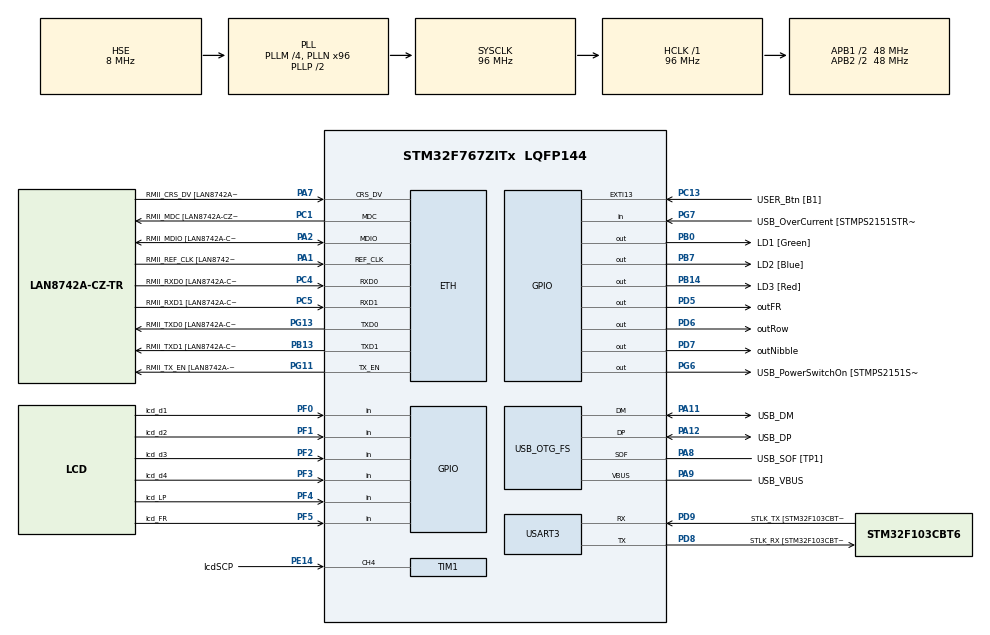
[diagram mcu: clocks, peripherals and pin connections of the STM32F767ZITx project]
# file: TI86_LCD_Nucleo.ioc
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Dma.Request0=TIM1_CH4/TRIG/COM
Dma.TIM1_CH4/TRIG/COM.0.Direction=DMA_PERIPH_TO_MEMORY
Dma.TIM1_CH4/TRIG/COM.0.FIFOMode=DMA_FIFOMODE_DISABLE
Dma.TIM1_CH4/TRIG/COM.0.Instance=DMA2_Stream4
Dma.TIM1_CH4/TRIG/COM.0.MemDataAlignment=DMA_MDATAALIGN_BYTE
Dma.TIM1_CH4/TRIG/COM.0.MemInc=DMA_MINC_ENABLE
Dma.TIM1_CH4/TRIG/COM.0.Mode=DMA_CIRCULAR
Dma.TIM1_CH4/TRIG/COM.0.PeriphDataAlignment=DMA_PDATAALIGN_BYTE
Dma.TIM1_CH4/TRIG/COM.0.PeriphInc=DMA_PINC_DISABLE
Dma.TIM1_CH4/TRIG/COM.0.Priority=DMA_PRIORITY_LOW
ETH.MediaInterface=ETH_MEDIA_INTERFACE_RMII
ETH.PHY_Name=LAN8742A_PHY_ADDRESS
ETH.PHY_Value=0
ETH.PhyAddress=0
Mcu.Family=STM32F7
Mcu.Name=STM32F767ZITx
Mcu.Package=LQFP144
NVIC.DMA2_Stream4_IRQn=true\:0\:0\:false\:false\:true\:false\:true
NVIC.EXTI15_10_IRQn=true\:0\:0\:false\:false\:true\:true\:true
NVIC.PriorityGroup=NVIC_PRIORITYGROUP_4
PA1.GPIO_Label=RMII_REF_CLK [LAN8742A-CZ-TR_REFCLK0]
PA1.Mode=RMII
PA1.Signal=ETH_REF_CLK
PA10.GPIO_Label=USB_ID
PA10.Signal=USB_OTG_FS_ID
PA11.GPIO_Label=USB_DM
PA11.Mode=Device_Only
PA11.Signal=USB_OTG_FS_DM
PA12.GPIO_Label=USB_DP
PA12.Mode=Device_Only
PA12.Signal=USB_OTG_FS_DP
PA13.GPIO_Label=TMS
PA13.Mode=Serial_Wire
PA13.Signal=SYS_JTMS-SWDIO
PA14.GPIO_Label=TCK
PA14.Mode=Serial_Wire
PA14.Signal=SYS_JTCK-SWCLK
PA2.GPIO_Label=RMII_MDIO [LAN8742A-CZ-TR_MDIO]
PA2.Mode=RMII
PA2.Signal=ETH_MDIO
PA7.GPIO_Label=RMII_CRS_DV [LAN8742A-CZ-TR_CRS_DV]
PA7.Mode=RMII
PA7.Signal=ETH_CRS_DV
PA8.GPIO_Label=USB_SOF [TP1]
PA8.Mode=Activate_SOF_FS
PA8.Signal=USB_OTG_FS_SOF
PA9.GPIO_Label=USB_VBUS
PA9.Mode=Activate_VBUS
PA9.Signal=USB_OTG_FS_VBUS
PB0.GPIO_Label=LD1 [Green]
PB0.Signal=GPIO_Output
PB13.GPIO_Label=RMII_TXD1 [LAN8742A-CZ-TR_TXD1]
PB13.Mode=RMII
PB13.Signal=ETH_TXD1
PB14.GPIO_Label=LD3 [Red]
PB14.Signal=GPIO_Output
PB3.GPIO_Label=SWO
PB3.Signal=SYS_JTDO-SWO
PB7.GPIO_Label=LD2 [Blue]
PB7.Signal=GPIO_Output
PC1.GPIO_Label=RMII_MDC [LAN8742A-CZ-TR_MDC]
PC1.Mode=RMII
PC1.Signal=ETH_MDC
PC13.GPIO_Label=USER_Btn [B1]
PC13.Signal=GPXTI13
PC14/OSC32_IN.Mode=LSE-External-Oscillator
PC14/OSC32_IN.Signal=RCC_OSC32_IN
PC15/OSC32_OUT.Mode=LSE-External-Oscillator
PC15/OSC32_OUT.Signal=RCC_OSC32_OUT
PC4.GPIO_Label=RMII_RXD0 [LAN8742A-CZ-TR_RXD0]
PC4.Mode=RMII
PC4.Signal=ETH_RXD0
PC5.GPIO_Label=RMII_RXD1 [LAN8742A-CZ-TR_RXD1]
PC5.Mode=RMII
PC5.Signal=ETH_RXD1
PD5.GPIO_Label=outFR
PD5.Signal=GPIO_Output
PD6.GPIO_Label=outRow
PD6.Signal=GPIO_Output
PD7.GPIO_Label=outNibble
PD7.Signal=GPIO_Output
PD8.GPIO_Label=STLK_RX [STM32F103CBT6_PA3]
PD8.Mode=Asynchronous
PD8.Signal=USART3_TX
PD9.GPIO_Label=STLK_TX [STM32F103CBT6_PA2]
PD9.Mode=Asynchronous
PD9.Signal=USART3_RX
PE14.GPIO_Label=lcdSCP
PE14.Signal=S_TIM1_CH4
PF0.GPIO_Label=lcd_d1
PF0.Signal=GPIO_Input
PF1.GPIO_Label=lcd_d2
PF1.Signal=GPIO_Input
PF2.GPIO_Label=lcd_d3
PF2.Signal=GPIO_Input
PF3.GPIO_Label=lcd_d4
PF3.Signal=GPIO_Input
PF4.GPIO_Label=lcd_LP
PF4.Signal=GPIO_Input
PF5.GPIO_Label=lcd_FR
PF5.Signal=GPIO_Input
PG11.GPIO_Label=RMII_TX_EN [LAN8742A-CZ-TR_TXEN]
PG11.Mode=RMII
PG11.Signal=ETH_TX_EN
PG13.GPIO_Label=RMII_TXD0 [LAN8742A-CZ-TR_TXD0]
PG13.Mode=RMII
PG13.Signal=ETH_TXD0
PG6.GPIO_Label=USB_PowerSwitchOn [STMPS2151STR_EN]
PG6.Signal=GPIO_Output
PG7.GPIO_Label=USB_OverCurrent [STMPS2151STR_FAULT]
PG7.Signal=GPIO_Input
PH0/OSC_IN.GPIO_Label=MCO [STM32F103CBT6_PA8]
PH0/OSC_IN.Mode=HSE-External-Clock-Source
PH0/OSC_IN.Signal=RCC_OSC_IN
PH1/OSC_OUT.Mode=HSE-External-Clock-Source
PH1/OSC_OUT.Signal=RCC_OSC_OUT
ProjectManager.HeapSize=0x200
ProjectManager.StackSize=0x400
ProjectManager.TargetToolchain=STM32CubeIDE
RCC.48MHZClocksFreq_Value=24000000
RCC.AHBFreq_Value=96000000
RCC.APB1CLKDivider=RCC_HCLK_DIV2
RCC.APB1Freq_Value=48000000
RCC.APB1TimFreq_Value=96000000
RCC.APB2CLKDivider=RCC_HCLK_DIV2
RCC.APB2Freq_Value=48000000
RCC.APB2TimFreq_Value=96000000
RCC.CortexFreq_Value=96000000
RCC.HCLKFreq_Value=96000000
RCC.HSE_VALUE=8000000
RCC.HSI_VALUE=16000000
RCC.PLLM=4
RCC.PLLMUL=RCC_PLL_MUL9
RCC.PLLN=96
RCC.PLLQ=4
RCC.PRESCALERUSB=RCC_USBCLKSOURCE_PLL_DIV1_5
RCC.SYSCLKFreq_VALUE=96000000
RCC.SYSCLKSource=RCC_SYSCLKSOURCE_PLLCLK
RCC.SYSCLKSourceVirtual=RCC_SYSCLKSOURCE_PLLCLK
RCC.USBFreq_Value=48000000
RCC.VCOOutputFreq_Value=192000000
SH.S_TIM1_CH4.0=TIM1_CH4,Input_Capture4_from_TI4
TIM1.Channel-Input_Capture4_from_TI4=TIM_CHANNEL_4
TIM1.ICPolarity_CH4=TIM_INPUTCHANNELPOLARITY_FALLING
USART3.VirtualMode-Asynchronous=VM_ASYNC
USB_OTG_FS.VirtualMode=Device_Only
board=NUCLEO-F767ZI

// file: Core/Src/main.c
/* USER CODE BEGIN Header */
/**
  ******************************************************************************
  * @file           : main.c
  * @brief          : Main program body
  ******************************************************************************
  * @attention
  *
  * <h2><center>&copy; Copyright (c) 2020 STMicroelectronics.
  * All rights reserved.</center></h2>
  *
  * This software component is licensed by ST under BSD 3-Clause license,
  * the "License"; You may not use this file except in compliance with the
  * License. You may obtain a copy of the License at:
  *                        opensource.org/licenses/BSD-3-Clause
  *
  ******************************************************************************
  */
/* USER CODE END Header */
#include "main.h"

/* USER CODE BEGIN PD */
/* Input data received on GPIOB */
/* we wont use PF[7:0] */

#define GPIOx_IDR               (GPIOF_BASE + 1)
#define DATA_GPIO_CLK_ENABLE     __HAL_RCC_GPIOF_CLK_ENABLE
#define DATA_GPIO_PORT           GPIOF
#define DATA_GPIO_PIN            (GPIO_PIN_0 | GPIO_PIN_1 | GPIO_PIN_2 | GPIO_PIN_3 | GPIO_PIN_4 | GPIO_PIN_5)

// We'll set our buffer length to columns (32 + 1) * rows (64) times 2, one Frame worth
#define GPIO_BUF_LEN ((uint32_t)33 * 4 * 64 * 2)
/* USER CODE END PD */

ETH_HandleTypeDef heth;

TIM_HandleTypeDef htim1;
DMA_HandleTypeDef hdma_tim1_ch4_trig_com;

UART_HandleTypeDef huart3;

PCD_HandleTypeDef hpcd_USB_OTG_FS;

/* USER CODE BEGIN PV */

// LCD GPIO DMA buffer
uint8_t GPIO_BUF[GPIO_BUF_LEN];

/* USER CODE END PV */

void SystemClock_Config(void);
static void MX_GPIO_Init(void);
static void MX_DMA_Init(void);
static void MX_ETH_Init(void);
static void MX_USART3_UART_Init(void);
static void MX_USB_OTG_FS_PCD_Init(void);
static void MX_TIM1_Init(void);
/* USER CODE BEGIN PFP */

static void TransferHalfComplete(DMA_HandleTypeDef *DmaHandle);
static void TransferComplete(DMA_HandleTypeDef *DmaHandle);

/* USER CODE END PFP */

int main(void)
{

  /* MCU Configuration--------------------------------------------------------*/

  /* Reset of all peripherals, Initializes the Flash interface and the Systick. */
  HAL_Init();

  /* Configure the system clock */
  SystemClock_Config();

  /* Initialize all configured peripherals */
  MX_GPIO_Init();
  MX_DMA_Init();
  MX_ETH_Init();
  MX_USART3_UART_Init();
  MX_USB_OTG_FS_PCD_Init();
  MX_TIM1_Init();
  /* USER CODE BEGIN 2 */

  HAL_DMA_RegisterCallback(&hdma_tim1_ch4_trig_com, HAL_DMA_XFER_HALFCPLT_CB_ID,
		  	  	  	  	  	&TransferHalfComplete);
  HAL_DMA_RegisterCallback(&hdma_tim1_ch4_trig_com, HAL_DMA_XFER_CPLT_CB_ID,
  		  	  	  	  	  	&TransferComplete);

  if (HAL_DMA_Start_IT(&hdma_tim1_ch4_trig_com, GPIOx_IDR, (uint32_t*)GPIO_BUF, GPIO_BUF_LEN) != HAL_OK)
  {
    /* Transfer Error */
    Error_Handler();
  }

  __HAL_TIM_ENABLE_DMA(&htim1, TIM_DMA_ID_CC2);

  /* Enable the TIMx IC channel */
  TIM_CCxChannelCmd(htim1.Instance, DMA_CHANNEL_6, TIM_CCx_ENABLE);

  /* USER CODE END 2 */

  /* Infinite loop */
  while (1)
  {

  }
}

void SystemClock_Config(void)
{
  RCC_OscInitTypeDef RCC_OscInitStruct = {0};
  RCC_ClkInitTypeDef RCC_ClkInitStruct = {0};
  RCC_PeriphCLKInitTypeDef PeriphClkInitStruct = {0};

  /** Configure LSE Drive Capability
  */
  HAL_PWR_EnableBkUpAccess();
  /** Configure the main internal regulator output voltage
  */
  __HAL_RCC_PWR_CLK_ENABLE();
  __HAL_PWR_VOLTAGESCALING_CONFIG(PWR_REGULATOR_VOLTAGE_SCALE3);
  /** Initializes the RCC Oscillators according to the specified parameters
  * in the RCC_OscInitTypeDef structure.
  */
  RCC_OscInitStruct.OscillatorType = RCC_OSCILLATORTYPE_HSE;
  RCC_OscInitStruct.HSEState = RCC_HSE_BYPASS;
  RCC_OscInitStruct.PLL.PLLState = RCC_PLL_ON;
  RCC_OscInitStruct.PLL.PLLSource = RCC_PLLSOURCE_HSE;
  RCC_OscInitStruct.PLL.PLLM = 4;
  RCC_OscInitStruct.PLL.PLLN = 96;
  RCC_OscInitStruct.PLL.PLLP = RCC_PLLP_DIV2;
  RCC_OscInitStruct.PLL.PLLQ = 4;
  if (HAL_RCC_OscConfig(&RCC_OscInitStruct) != HAL_OK)
  {
    Error_Handler();
  }
  /** Activate the Over-Drive mode
  */
  if (HAL_PWREx_EnableOverDrive() != HAL_OK)
  {
    Error_Handler();
  }
  /** Initializes the CPU, AHB and APB buses clocks
  */
  RCC_ClkInitStruct.ClockType = RCC_CLOCKTYPE_HCLK|RCC_CLOCKTYPE_SYSCLK
                              |RCC_CLOCKTYPE_PCLK1|RCC_CLOCKTYPE_PCLK2;
  RCC_ClkInitStruct.SYSCLKSource = RCC_SYSCLKSOURCE_PLLCLK;
  RCC_ClkInitStruct.AHBCLKDivider = RCC_SYSCLK_DIV1;
  RCC_ClkInitStruct.APB1CLKDivider = RCC_HCLK_DIV2;
  RCC_ClkInitStruct.APB2CLKDivider = RCC_HCLK_DIV2;

  if (HAL_RCC_ClockConfig(&RCC_ClkInitStruct, FLASH_LATENCY_3) != HAL_OK)
  {
    Error_Handler();
  }
  PeriphClkInitStruct.PeriphClockSelection = RCC_PERIPHCLK_USART3|RCC_PERIPHCLK_CLK48;
  PeriphClkInitStruct.Usart3ClockSelection = RCC_USART3CLKSOURCE_PCLK1;
  PeriphClkInitStruct.Clk48ClockSelection = RCC_CLK48SOURCE_PLL;
  if (HAL_RCCEx_PeriphCLKConfig(&PeriphClkInitStruct) != HAL_OK)
  {
    Error_Handler();
  }
}

static void MX_ETH_Init(void)
{

  heth.Instance = ETH;
  heth.Init.AutoNegotiation = ETH_AUTONEGOTIATION_ENABLE;
  heth.Init.PhyAddress = LAN8742A_PHY_ADDRESS;
  heth.Init.MACAddr[0] =   0x00;
  heth.Init.MACAddr[1] =   0x80;
  heth.Init.MACAddr[2] =   0xE1;
  heth.Init.MACAddr[3] =   0x00;
  heth.Init.MACAddr[4] =   0x00;
  heth.Init.MACAddr[5] =   0x00;
  heth.Init.RxMode = ETH_RXPOLLING_MODE;
  heth.Init.ChecksumMode = ETH_CHECKSUM_BY_HARDWARE;
  heth.Init.MediaInterface = ETH_MEDIA_INTERFACE_RMII;

  if (HAL_ETH_Init(&heth) != HAL_OK)
  {
    Error_Handler();
  }

}

static void MX_TIM1_Init(void)
{

  TIM_MasterConfigTypeDef sMasterConfig = {0};
  TIM_IC_InitTypeDef sConfigIC = {0};

  htim1.Instance = TIM1;
  htim1.Init.Prescaler = 0;
  htim1.Init.CounterMode = TIM_COUNTERMODE_UP;
  htim1.Init.Period = 65535;
  htim1.Init.ClockDivision = TIM_CLOCKDIVISION_DIV1;
  htim1.Init.RepetitionCounter = 0;
  htim1.Init.AutoReloadPreload = TIM_AUTORELOAD_PRELOAD_DISABLE;
  if (HAL_TIM_IC_Init(&htim1) != HAL_OK)
  {
    Error_Handler();
  }
  sMasterConfig.MasterOutputTrigger = TIM_TRGO_RESET;
  sMasterConfig.MasterOutputTrigger2 = TIM_TRGO2_RESET;
  sMasterConfig.MasterSlaveMode = TIM_MASTERSLAVEMODE_DISABLE;
  if (HAL_TIMEx_MasterConfigSynchronization(&htim1, &sMasterConfig) != HAL_OK)
  {
    Error_Handler();
  }
  sConfigIC.ICPolarity = TIM_INPUTCHANNELPOLARITY_FALLING;
  sConfigIC.ICSelection = TIM_ICSELECTION_DIRECTTI;
  sConfigIC.ICPrescaler = TIM_ICPSC_DIV1;
  sConfigIC.ICFilter = 1;
  if (HAL_TIM_IC_ConfigChannel(&htim1, &sConfigIC, TIM_CHANNEL_4) != HAL_OK)
  {
    Error_Handler();
  }

}

static void MX_USART3_UART_Init(void)
{

  huart3.Instance = USART3;
  huart3.Init.BaudRate = 115200;
  huart3.Init.WordLength = UART_WORDLENGTH_8B;
  huart3.Init.StopBits = UART_STOPBITS_1;
  huart3.Init.Parity = UART_PARITY_NONE;
  huart3.Init.Mode = UART_MODE_TX_RX;
  huart3.Init.HwFlowCtl = UART_HWCONTROL_NONE;
  huart3.Init.OverSampling = UART_OVERSAMPLING_16;
  huart3.Init.OneBitSampling = UART_ONE_BIT_SAMPLE_DISABLE;
  huart3.AdvancedInit.AdvFeatureInit = UART_ADVFEATURE_NO_INIT;
  if (HAL_UART_Init(&huart3) != HAL_OK)
  {
    Error_Handler();
  }

}

static void MX_USB_OTG_FS_PCD_Init(void)
{

  hpcd_USB_OTG_FS.Instance = USB_OTG_FS;
  hpcd_USB_OTG_FS.Init.dev_endpoints = 6;
  hpcd_USB_OTG_FS.Init.speed = PCD_SPEED_FULL;
  hpcd_USB_OTG_FS.Init.dma_enable = DISABLE;
  hpcd_USB_OTG_FS.Init.phy_itface = PCD_PHY_EMBEDDED;
  hpcd_USB_OTG_FS.Init.Sof_enable = ENABLE;
  hpcd_USB_OTG_FS.Init.low_power_enable = DISABLE;
  hpcd_USB_OTG_FS.Init.lpm_enable = DISABLE;
  hpcd_USB_OTG_FS.Init.vbus_sensing_enable = ENABLE;
  hpcd_USB_OTG_FS.Init.use_dedicated_ep1 = DISABLE;
  if (HAL_PCD_Init(&hpcd_USB_OTG_FS) != HAL_OK)
  {
    Error_Handler();
  }

}

static void MX_DMA_Init(void)
{

  /* DMA controller clock enable */
  __HAL_RCC_DMA2_CLK_ENABLE();

  /* DMA interrupt init */
  /* DMA2_Stream4_IRQn interrupt configuration */
  HAL_NVIC_SetPriority(DMA2_Stream4_IRQn, 0, 0);
  HAL_NVIC_EnableIRQ(DMA2_Stream4_IRQn);

}

static void MX_GPIO_Init(void)
{
  GPIO_InitTypeDef GPIO_InitStruct = {0};

  /* GPIO Ports Clock Enable */
  __HAL_RCC_GPIOC_CLK_ENABLE();
  __HAL_RCC_GPIOF_CLK_ENABLE();
  __HAL_RCC_GPIOH_CLK_ENABLE();
  __HAL_RCC_GPIOA_CLK_ENABLE();
  __HAL_RCC_GPIOB_CLK_ENABLE();
  __HAL_RCC_GPIOE_CLK_ENABLE();
  __HAL_RCC_GPIOD_CLK_ENABLE();
  __HAL_RCC_GPIOG_CLK_ENABLE();

  /*Configure GPIO pin Output Level */
  HAL_GPIO_WritePin(GPIOB, LD1_Pin|LD3_Pin|LD2_Pin, GPIO_PIN_RESET);

  /*Configure GPIO pin Output Level */
  HAL_GPIO_WritePin(USB_PowerSwitchOn_GPIO_Port, USB_PowerSwitchOn_Pin, GPIO_PIN_RESET);

  /*Configure GPIO pin Output Level */
  HAL_GPIO_WritePin(GPIOD, outFR_Pin|outRow_Pin|outNibble_Pin, GPIO_PIN_RESET);

  /*Configure GPIO pin : USER_Btn_Pin */
  GPIO_InitStruct.Pin = USER_Btn_Pin;
  GPIO_InitStruct.Mode = GPIO_MODE_IT_RISING;
  GPIO_InitStruct.Pull = GPIO_NOPULL;
  HAL_GPIO_Init(USER_Btn_GPIO_Port, &GPIO_InitStruct);

  /*Configure GPIO pins : lcd_d1_Pin lcd_d2_Pin lcd_d3_Pin lcd_d4_Pin
                           lcd_LP_Pin lcd_FR_Pin */
  GPIO_InitStruct.Pin = lcd_d1_Pin|lcd_d2_Pin|lcd_d3_Pin|lcd_d4_Pin
                          |lcd_LP_Pin|lcd_FR_Pin;
  GPIO_InitStruct.Mode = GPIO_MODE_INPUT;
  GPIO_InitStruct.Pull = GPIO_NOPULL;
  HAL_GPIO_Init(GPIOF, &GPIO_InitStruct);

  /*Configure GPIO pins : LD1_Pin LD3_Pin LD2_Pin */
  GPIO_InitStruct.Pin = LD1_Pin|LD3_Pin|LD2_Pin;
  GPIO_InitStruct.Mode = GPIO_MODE_OUTPUT_PP;
  GPIO_InitStruct.Pull = GPIO_NOPULL;
  GPIO_InitStruct.Speed = GPIO_SPEED_FREQ_LOW;
  HAL_GPIO_Init(GPIOB, &GPIO_InitStruct);

  /*Configure GPIO pin : USB_PowerSwitchOn_Pin */
  GPIO_InitStruct.Pin = USB_PowerSwitchOn_Pin;
  GPIO_InitStruct.Mode = GPIO_MODE_OUTPUT_PP;
  GPIO_InitStruct.Pull = GPIO_NOPULL;
  GPIO_InitStruct.Speed = GPIO_SPEED_FREQ_LOW;
  HAL_GPIO_Init(USB_PowerSwitchOn_GPIO_Port, &GPIO_InitStruct);

  /*Configure GPIO pin : USB_OverCurrent_Pin */
  GPIO_InitStruct.Pin = USB_OverCurrent_Pin;
  GPIO_InitStruct.Mode = GPIO_MODE_INPUT;
  GPIO_InitStruct.Pull = GPIO_NOPULL;
  HAL_GPIO_Init(USB_OverCurrent_GPIO_Port, &GPIO_InitStruct);

  /*Configure GPIO pins : outFR_Pin outRow_Pin outNibble_Pin */
  GPIO_InitStruct.Pin = outFR_Pin|outRow_Pin|outNibble_Pin;
  GPIO_InitStruct.Mode = GPIO_MODE_OUTPUT_PP;
  GPIO_InitStruct.Pull = GPIO_NOPULL;
  GPIO_InitStruct.Speed = GPIO_SPEED_FREQ_LOW;
  HAL_GPIO_Init(GPIOD, &GPIO_InitStruct);

  /* EXTI interrupt init*/
  HAL_NVIC_SetPriority(EXTI15_10_IRQn, 0, 0);
  HAL_NVIC_EnableIRQ(EXTI15_10_IRQn);

}

/* USER CODE BEGIN 4 */

static void TransferHalfComplete(DMA_HandleTypeDef *hdma) {
	HAL_GPIO_TogglePin(outFR_GPIO_Port, outFR_Pin);
}

static void TransferComplete(DMA_HandleTypeDef *hdma) {
	HAL_GPIO_TogglePin(outFR_GPIO_Port, outFR_Pin);
}

/* USER CODE END 4 */

void Error_Handler(void)
{
}

/************************ (C) COPYRIGHT STMicroelectronics *****END OF FILE****/
